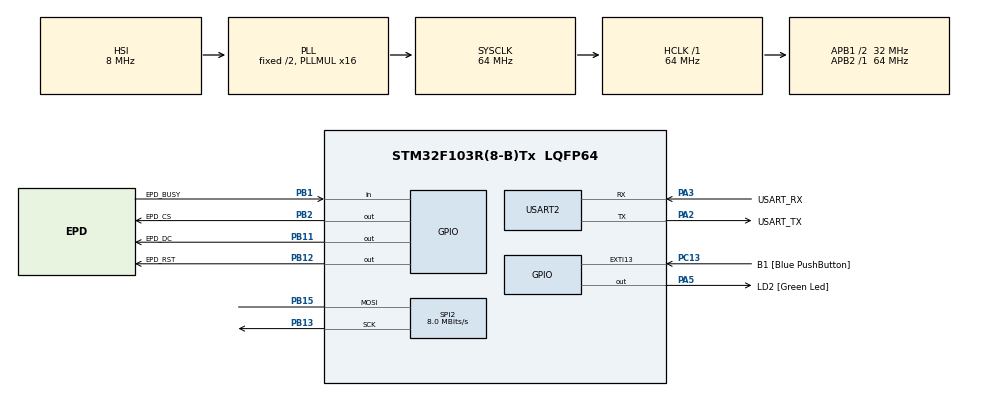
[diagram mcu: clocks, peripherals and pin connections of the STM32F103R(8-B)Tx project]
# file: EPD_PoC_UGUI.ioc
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Mcu.Family=STM32F1
Mcu.Name=STM32F103R(8-B)Tx
Mcu.Package=LQFP64
NVIC.EXTI15_10_IRQn=true\:0\:0\:false\:false\:true\:true\:true\:true
NVIC.PriorityGroup=NVIC_PRIORITYGROUP_4
PA13.GPIO_Label=TMS
PA13.Mode=Serial_Wire
PA13.Signal=SYS_JTMS-SWDIO
PA14.GPIO_Label=TCK
PA14.Mode=Serial_Wire
PA14.Signal=SYS_JTCK-SWCLK
PA2.GPIO_Label=USART_TX
PA2.GPIO_Mode=GPIO_MODE_AF_PP
PA2.GPIO_PuPd=GPIO_NOPULL
PA2.GPIO_Speed=GPIO_SPEED_FREQ_LOW
PA2.Mode=Asynchronous
PA2.Signal=USART2_TX
PA3.GPIO_Label=USART_RX
PA3.GPIO_Mode=GPIO_MODE_AF_PP
PA3.GPIO_PuPd=GPIO_NOPULL
PA3.GPIO_Speed=GPIO_SPEED_FREQ_LOW
PA3.Mode=Asynchronous
PA3.Signal=USART2_RX
PA5.GPIO_Label=LD2 [Green Led]
PA5.GPIO_ModeDefaultOutputPP=GPIO_MODE_OUTPUT_PP
PA5.GPIO_PuPd=GPIO_NOPULL
PA5.GPIO_Speed=GPIO_SPEED_FREQ_LOW
PA5.Signal=GPIO_Output
PB1.GPIO_Label=EPD_BUSY
PB1.Signal=GPIO_Input
PB11.GPIO_Label=EPD_DC
PB11.Signal=GPIO_Output
PB12.GPIO_Label=EPD_RST
PB12.Signal=GPIO_Output
PB13.Mode=Simplex_Bidirectional_Master
PB13.Signal=SPI2_SCK
PB15.Mode=Simplex_Bidirectional_Master
PB15.Signal=SPI2_MOSI
PB2.GPIO_Label=EPD_CS
PB2.Signal=GPIO_Output
PB3.GPIO_Label=SWO
PB3.Signal=SYS_JTDO-TRACESWO
PC13-TAMPER-RTC.GPIO_Label=B1 [Blue PushButton]
PC13-TAMPER-RTC.GPIO_PuPd=GPIO_NOPULL
PC13-TAMPER-RTC.Signal=GPXTI13
PC14-OSC32_IN.Mode=LSE-External-Oscillator
PC14-OSC32_IN.Signal=RCC_OSC32_IN
PC15-OSC32_OUT.Mode=LSE-External-Oscillator
PC15-OSC32_OUT.Signal=RCC_OSC32_OUT
PD0-OSC_IN.Mode=HSE-External-Clock-Source
PD0-OSC_IN.Signal=RCC_OSC_IN
PD1-OSC_OUT.Mode=HSE-External-Clock-Source
PD1-OSC_OUT.Signal=RCC_OSC_OUT
ProjectManager.HeapSize=0x200
ProjectManager.StackSize=0x400
ProjectManager.TargetToolchain=STM32CubeIDE
RCC.AHBFreq_Value=64000000
RCC.APB1CLKDivider=RCC_HCLK_DIV2
RCC.APB1Freq_Value=32000000
RCC.APB1TimFreq_Value=64000000
RCC.APB2Freq_Value=64000000
RCC.APB2TimFreq_Value=64000000
RCC.HCLKFreq_Value=64000000
RCC.PLLMUL=RCC_PLL_MUL16
RCC.RTCClockSelection=RCC_RTCCLKSOURCE_LSE
RCC.SYSCLKFreq_VALUE=64000000
RCC.SYSCLKSource=RCC_SYSCLKSOURCE_PLLCLK
RCC.USBFreq_Value=64000000
SPI2.BaudRatePrescaler=SPI_BAUDRATEPRESCALER_4
SPI2.CalculateBaudRate=8.0 MBits/s
SPI2.Direction=SPI_DIRECTION_1LINE
SPI2.Mode=SPI_MODE_MASTER
SPI2.VirtualType=VM_MASTER
USART2.VirtualMode=VM_ASYNC
board=NUCLEO-F103RB

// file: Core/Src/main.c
/* USER CODE BEGIN Header */
/**
 ******************************************************************************
 * @file           : main.c
 * @brief          : Main program body
 ******************************************************************************
 * @attention
 *
 * Copyright (c) 2024 STMicroelectronics.
 * All rights reserved.
 *
 * This software is licensed under terms that can be found in the LICENSE file
 * in the root directory of this software component.
 * If no LICENSE file comes with this software, it is provided AS-IS.
 *
 ******************************************************************************
 */
/* USER CODE END Header */
#include "main.h"
#include "spi.h"
#include "usart.h"
#include "gpio.h"

/* USER CODE BEGIN Includes */
#include <stdio.h>
#include <string.h>

#include "epd_driver.h"
#include "epd_screens.h"
#include "retarget.h"

#include "ugui_sim.h"
#include "ugui.h"

/* USER CODE END Includes */

/* USER CODE BEGIN PM */
#define SET_ARRAY_BIT(A,k)     ( A[(k)/8] |= (1 << (7 - ((k)%8)) ))
#define CLEAR_ARRAY_BIT(A,k)   ( A[(k)/8] &= ~(1 << (7 - ((k)%8)) ))
/* USER CODE END PM */

/* USER CODE BEGIN PV */

// Buffers for EPD Fast Update
static uint8_t bufferOld[EPD_DISPLAY_266_SIZE_V][EPD_DISPLAY_266_SIZE_H / 8] = { 0 };
static uint8_t bufferNew[EPD_DISPLAY_266_SIZE_V][EPD_DISPLAY_266_SIZE_H / 8] = { 0 };

// EPD driver struct
ePaperDisplay_t epd;

// UGUI device struct
UG_DEVICE epdDev;

/* USER CODE END PV */

void SystemClock_Config(void);
/* USER CODE BEGIN PFP */

// UGUI callback function declarations
void epd_pset(UG_S16 x, UG_S16 y, UG_COLOR c); // Set a pixel
void epd_flush(void); // Send buffer to EPD

/* USER CODE END PFP */

int main(void)
{

	/* MCU Configuration--------------------------------------------------------*/

	/* Reset of all peripherals, Initializes the Flash interface and the Systick. */
	HAL_Init();

	/* Configure the system clock */
	SystemClock_Config();

	/* Initialize all configured peripherals */
	MX_GPIO_Init();
	MX_USART2_UART_Init();
	MX_SPI2_Init();
	/* USER CODE BEGIN 2 */
	RetargetInit(&huart2); // printf

	epd.spi = &hspi2;

	// CubeMX pin and port constants
	epd.panelBusy.pin = EPD_BUSY_Pin;
	epd.panelBusy.port = EPD_BUSY_GPIO_Port;

	epd.panelCS.pin = EPD_CS_Pin;
	epd.panelCS.port = EPD_CS_GPIO_Port;

	epd.panelDC.pin = EPD_DC_Pin;
	epd.panelDC.port = EPD_DC_GPIO_Port;

	epd.panelReset.pin = EPD_RST_Pin;
	epd.panelReset.port = EPD_RST_GPIO_Port;

	// Select the constants for your EPD (from epd_screens.h)
	epd.epdType = EPD_DISPLAY_266;
	epd.displaySizeH = EPD_DISPLAY_266_SIZE_H;
	epd.displaySizeV = EPD_DISPLAY_266_SIZE_V;

	epd.epdPSR[0] = EPD_DISPLAY_266_PSR0;
	epd.epdPSR[1] = EPD_DISPLAY_266_PSR1;

	// Blank the screen
	initializeGlobalUpdateCOG(&epd);
	globalUpdateDisplay(&epd, (uint8_t*) bufferNew, (uint8_t*) bufferNew);

	// Config UGUI device
	epdDev.x_dim = epd.displaySizeV;
	epdDev.y_dim = epd.displaySizeH;
	epdDev.pset = &epd_pset;
	epdDev.flush = &epd_flush;

	GUI_Setup(&epdDev);

	// Initialize the EPD for Fast Update
	initializeFastUpdateCOG(&epd);

	/* USER CODE END 2 */

	/* Infinite loop */
	/* USER CODE BEGIN WHILE */
	while(1)
	{
		HAL_GPIO_TogglePin(LD2_GPIO_Port, LD2_Pin);
		GUI_Process(); // from ugui_sim.c
		/* USER CODE END WHILE */

	}
}

void SystemClock_Config(void)
{
	RCC_OscInitTypeDef RCC_OscInitStruct = { 0 };
	RCC_ClkInitTypeDef RCC_ClkInitStruct = { 0 };

	/** Initializes the RCC Oscillators according to the specified parameters
	 * in the RCC_OscInitTypeDef structure.
	 */
	RCC_OscInitStruct.OscillatorType = RCC_OSCILLATORTYPE_HSI;
	RCC_OscInitStruct.HSIState = RCC_HSI_ON;
	RCC_OscInitStruct.HSICalibrationValue = RCC_HSICALIBRATION_DEFAULT;
	RCC_OscInitStruct.PLL.PLLState = RCC_PLL_ON;
	RCC_OscInitStruct.PLL.PLLSource = RCC_PLLSOURCE_HSI_DIV2;
	RCC_OscInitStruct.PLL.PLLMUL = RCC_PLL_MUL16;
	if(HAL_RCC_OscConfig(&RCC_OscInitStruct) != HAL_OK)
	{
		Error_Handler();
	}

	/** Initializes the CPU, AHB and APB buses clocks
	 */
	RCC_ClkInitStruct.ClockType = RCC_CLOCKTYPE_HCLK | RCC_CLOCKTYPE_SYSCLK | RCC_CLOCKTYPE_PCLK1 | RCC_CLOCKTYPE_PCLK2;
	RCC_ClkInitStruct.SYSCLKSource = RCC_SYSCLKSOURCE_PLLCLK;
	RCC_ClkInitStruct.AHBCLKDivider = RCC_SYSCLK_DIV1;
	RCC_ClkInitStruct.APB1CLKDivider = RCC_HCLK_DIV2;
	RCC_ClkInitStruct.APB2CLKDivider = RCC_HCLK_DIV1;

	if(HAL_RCC_ClockConfig(&RCC_ClkInitStruct, FLASH_LATENCY_2) != HAL_OK)
	{
		Error_Handler();
	}
}

/* USER CODE BEGIN 4 */
void epd_pset(UG_S16 x, UG_S16 y, UG_COLOR c)
{
	if(c == 0)
	{
		SET_ARRAY_BIT(bufferNew[EPD_DISPLAY_266_SIZE_V - 1 - x], y);
	}
	else if(c == 255)
	{
		CLEAR_ARRAY_BIT(bufferNew[EPD_DISPLAY_266_SIZE_V - 1 - x], y);
	}
}

void epd_flush(void)
{
	printf("Time to flush !\n\r");

	fastUpdateDisplay(&epd, (uint8_t*) bufferOld, (uint8_t*) bufferNew);
	memcpy(bufferOld, bufferNew, sizeof(bufferNew));
}
/* USER CODE END 4 */

void Error_Handler(void)
{
	__disable_irq();
	while(1)
	{
	}
}
